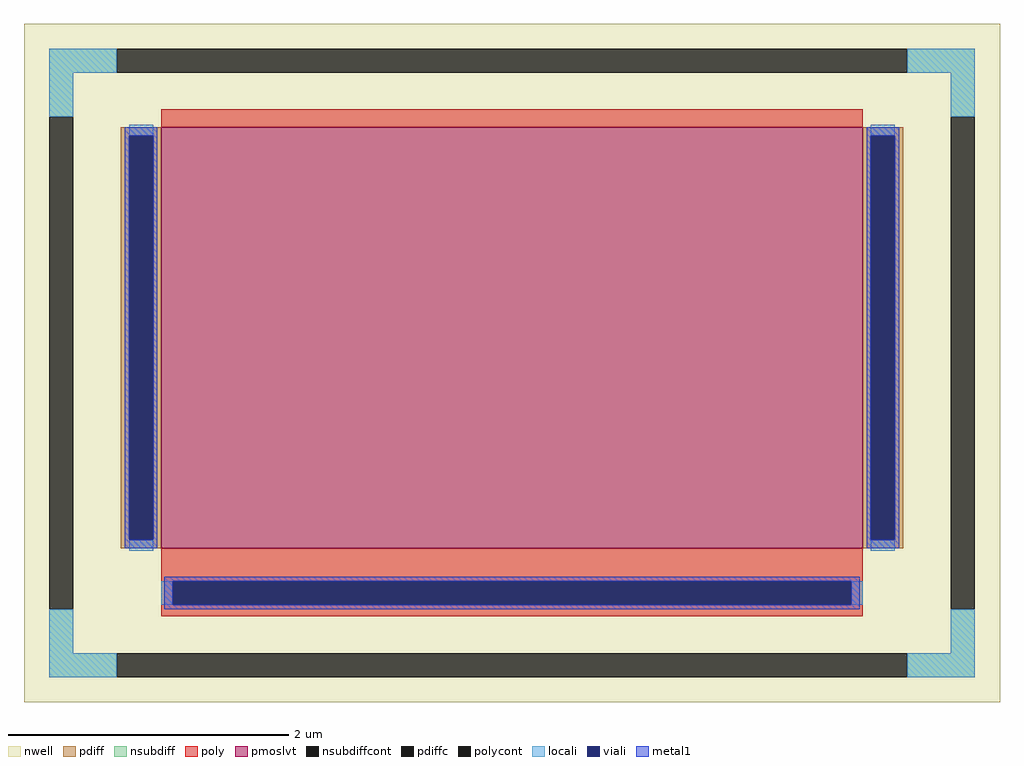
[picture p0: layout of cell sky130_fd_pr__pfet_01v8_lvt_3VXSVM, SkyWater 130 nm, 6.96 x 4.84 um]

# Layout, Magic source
magic
tech sky130A
magscale 1 2
<< nwell >>
rect -696 -484 696 484
<< pmoslvt >>
rect -500 -264 500 336
<< pdiff >>
rect -558 324 -500 336
rect -558 -252 -546 324
rect -512 -252 -500 324
rect -558 -264 -500 -252
rect 500 324 558 336
rect 500 -252 512 324
rect 546 -252 558 324
rect 500 -264 558 -252
<< pdiffc >>
rect -546 -252 -512 324
rect 512 -252 546 324
<< nsubdiff >>
rect -660 414 -564 448
rect 564 414 660 448
rect -660 351 -626 414
rect 626 351 660 414
rect -660 -414 -626 -351
rect 626 -414 660 -351
rect -660 -448 -564 -414
rect 564 -448 660 -414
<< nsubdiffcont >>
rect -564 414 564 448
rect -660 -351 -626 351
rect 626 -351 660 351
rect -564 -448 564 -414
<< poly >>
rect -500 336 500 362
rect -500 -311 500 -264
rect -500 -345 -484 -311
rect 484 -345 500 -311
rect -500 -361 500 -345
<< polycont >>
rect -484 -345 484 -311
<< locali >>
rect -660 414 -564 448
rect 564 414 660 448
rect -660 351 -626 414
rect 626 351 660 414
rect -546 324 -512 340
rect -546 -268 -512 -252
rect 512 324 546 340
rect 512 -268 546 -252
rect -500 -345 -484 -311
rect 484 -345 500 -311
rect -660 -414 -626 -351
rect 626 -414 660 -351
rect -660 -448 -564 -414
rect 564 -448 660 -414
<< viali >>
rect -546 -252 -512 324
rect 512 -252 546 324
rect -484 -345 484 -311
<< metal1 >>
rect -552 324 -506 336
rect -552 -252 -546 324
rect -512 -252 -506 324
rect -552 -264 -506 -252
rect 506 324 552 336
rect 506 -252 512 324
rect 546 -252 552 324
rect 506 -264 552 -252
rect -496 -311 496 -305
rect -496 -345 -484 -311
rect 484 -345 496 -311
rect -496 -351 496 -345
<< properties >>
string FIXED_BBOX -643 -431 643 431
string gencell sky130_fd_pr__pfet_01v8_lvt
string library sky130
string parameters w 3.0 l 5.0 m 1 nf 1 diffcov 100 polycov 100 guard 1 glc 1 grc 1 gtc 1 gbc 1 tbcov 100 rlcov 100 topc 0 botc 1 poverlap 0 doverlap 1 lmin 0.35 wmin 0.42 compatible {sky130_fd_pr__pfet_01v8  sky130_fd_pr__pfet_01v8_lvt sky130_fd_pr__pfet_01v8_hvt  sky130_fd_pr__pfet_g5v0d10v5} full_metal 1 viasrc 100 viadrn 100 viagate 100 viagb 0 viagr 0 viagl 0 viagt 0
<< end >>
